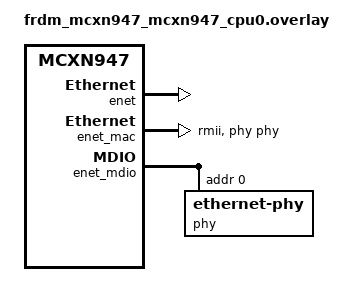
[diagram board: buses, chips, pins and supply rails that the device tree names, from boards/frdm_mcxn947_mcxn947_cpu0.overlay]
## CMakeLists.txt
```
# Cloud-to-device LED control sample: C2D commands drive the board LED
# (alias led0) and the LED state reports back as telemetry. Reuses the
# telemetry sample's generated device_credentials.h, so one provisioning
# step covers both samples.
cmake_minimum_required(VERSION 3.20.0)

find_package(Zephyr REQUIRED HINTS $ENV{ZEPHYR_BASE})
project(iotc_c2d_led_sample)

target_sources(app PRIVATE src/main.c)
target_include_directories(app PRIVATE ${CMAKE_CURRENT_SOURCE_DIR}/../telemetry/src) # device_credentials.h
```

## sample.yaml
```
sample:
  name: IOTCONNECT C2D LED
  description: >
    Drives the board LED (alias led0) from IOTCONNECT cloud-to-device
    commands (led-on / led-off / led-toggle), ACKs every command, and
    reports the LED state back as periodic telemetry.
common:
  tags: iotconnect mqtt tls net sample
  harness: net
tests:
  sample.iotconnect.c2d_led:
    platform_allow:
      - frdm_mcxn947/mcxn947/cpu0
    build_only: true
    integration_platforms:
      - frdm_mcxn947/mcxn947/cpu0
```

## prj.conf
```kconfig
# IOTCONNECT telemetry sample - vendor-neutral baseline.
# Board-specific networking/bearer settings live in boards/<board>.conf.

# --- Turn on the SDK (selects the net/TLS/MQTT/SNTP/HTTP stack) -------------
CONFIG_IOTCONNECT=y
CONFIG_IOTCONNECT_DRA=y

# Device identity (override per device; can also be set at runtime).
CONFIG_IOTCONNECT_CPID=""
CONFIG_IOTCONNECT_ENV=""
CONFIG_IOTCONNECT_DUID=""
CONFIG_IOTCONNECT_CT_AWS=y
# Region-specific AWS discovery endpoint (from the device config package).
CONFIG_IOTCONNECT_DRA_DISCOVERY_HOST="awsdiscovery.iotconnect.io"

# --- Networking (native Zephyr IP stack) -----------------------------------
CONFIG_NETWORKING=y
CONFIG_NET_NATIVE=y
CONFIG_NET_IPV4=y
CONFIG_NET_IPV6=n
CONFIG_NET_TCP=y
CONFIG_NET_UDP=y
CONFIG_NET_SOCKETS=y
CONFIG_NET_SOCKETS_SOCKOPT_TLS=y
CONFIG_NET_SOCKETS_TLS_MAX_CONTEXTS=4
CONFIG_DNS_RESOLVER=y
CONFIG_NET_CONNECTION_MANAGER=y
CONFIG_NET_MGMT=y
CONFIG_NET_MGMT_EVENT=y
CONFIG_POSIX_API=y

# --- TLS / mbedTLS (Zephyr 4.x symbol set) ---------------------------------
CONFIG_TLS_CREDENTIALS=y
CONFIG_MBEDTLS=y
CONFIG_MBEDTLS_ENABLE_HEAP=y
CONFIG_MBEDTLS_HEAP_SIZE=60000
CONFIG_MBEDTLS_SSL_MAX_CONTENT_LEN=16384
CONFIG_MBEDTLS_PEM_PARSE_C=y
CONFIG_MBEDTLS_SSL_SERVER_NAME_INDICATION=y
# Ciphersuites: ECDHE-RSA covers AWS/Azure RSA broker roots; ECDHE-ECDSA covers
# ECC device/broker certs (common with IOTCONNECT). Both AES-128-GCM-SHA256.
CONFIG_MBEDTLS_CIPHERSUITE_TLS_ECDHE_RSA_WITH_AES_128_GCM_SHA256=y
CONFIG_MBEDTLS_CIPHERSUITE_TLS_ECDHE_ECDSA_WITH_AES_128_GCM_SHA256=y
CONFIG_ENTROPY_GENERATOR=y

# --- MQTT / HTTP / SNTP -----------------------------------------------------
CONFIG_MQTT_LIB=y
CONFIG_MQTT_LIB_TLS=y
CONFIG_MQTT_KEEPALIVE=30
CONFIG_HTTP_CLIENT=y
CONFIG_SNTP=y

# --- Time (apply SNTP to realtime clock for cert validity) -----------------
CONFIG_POSIX_TIMERS=y

# --- Settings / NVS (identity + DRA cache persistence) ---------------------
CONFIG_SETTINGS=y
CONFIG_SETTINGS_NVS=y
CONFIG_NVS=y
CONFIG_FLASH=y
CONFIG_FLASH_MAP=y

# --- libc / heap / stacks ---------------------------------------------------
# Board default libc = picolibc. cJSON serializes telemetry doubles via libc
# sprintf("%g"); picolibc needs float printf explicitly enabled or doubles
# render as the literal "*float*".
CONFIG_PICOLIBC_IO_FLOAT=y
CONFIG_MAIN_STACK_SIZE=8192
CONFIG_HEAP_MEM_POOL_SIZE=32768
CONFIG_IOTCONNECT_THREAD_STACK_SIZE=4096

# --- Logging ----------------------------------------------------------------
CONFIG_LOG=y
CONFIG_IOTCONNECT_LOG_LEVEL_INF=y

# c2d-led: LED GPIO
CONFIG_GPIO=y

# Device vitals: append a "sys" object (CPU/heap/temp/uptime/reset) to telemetry.
CONFIG_IOTCONNECT_DEVICE_VITALS=y
```

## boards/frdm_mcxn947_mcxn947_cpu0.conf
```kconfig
# FRDM-MCXN947 board overlay for the telemetry sample -- ETHERNET bearer.
#
# The MCXN947 ENET-QoS MAC is wired (RMII) to an onboard Microchip LAN8741 PHY
# + RJ45. The DT overlay (boards/frdm_mcxn947_mcxn947_cpu0.overlay) enables
# enet_mac / enet_mdio / phy; this .conf turns on the L2 + DHCPv4 so the
# interface self-configures and the SDK's connection manager sees L4 up.
#
# NOTE: if ENET init fails at boot with "Can't clear SWR", the RMII REF_CLK is
# not reaching the SoC. On FRDM-MCXN947 the usual cause is board rework: NXP's
# camera/LCD demo setups move solder jumpers that disconnect the ENET pins.
# The PHY still responds over MDIO and reports link, so it looks driver-side.

# --- Bearer: native Ethernet (ENET-QoS + LAN8741 RMII) ---------------------
CONFIG_NET_L2_ETHERNET=y
CONFIG_ETH_NXP_ENET_QOS=y
CONFIG_ETH_NXP_ENET_QOS_MAC=y
CONFIG_MDIO=y

# --- IPv4 via DHCP; auto-bring-up the interface ----------------------------
CONFIG_NET_DHCPV4=y
CONFIG_NET_CONFIG_AUTO_INIT=y
CONFIG_NET_CONFIG_NEED_IPV4=y
CONFIG_NET_CONFIG_SETTINGS=y

# --- Net buffers sized for a wired link ------------------------------------
CONFIG_NET_PKT_RX_COUNT=16
CONFIG_NET_PKT_TX_COUNT=16
CONFIG_NET_BUF_RX_COUNT=32
CONFIG_NET_BUF_TX_COUNT=32
CONFIG_NET_CONTEXT_RCVTIMEO=y

# --- mbedTLS heap headroom for cloud broker cert chains --------------------
CONFIG_MBEDTLS_HEAP_SIZE=60000
```

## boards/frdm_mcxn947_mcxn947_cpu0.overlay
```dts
/*
 * FRDM-MCXN947 Ethernet enablement for the IOTCONNECT telemetry sample.
 *
 * The MCXN947 SoC has an ENET-QoS MAC; the FRDM board wires it (RMII) to an
 * onboard Microchip LAN8741 PHY + RJ45. Zephyr leaves enet_mac/enet_mdio
 * disabled by default, so this overlay turns them on, applies the ENET pinmux,
 * and declares the PHY at MDIO address 0. Modeled on the NXP MCX-Nx4x EVK
 * (same SoC family), which uses the generic "ethernet-phy" driver over RMII.
 *
 * NOTE (hardware-verified, Zephyr v4.4.1): after a WARM reset -- a debugger
 * reset (e.g. right after `west flash`) or the reset pin -- the ENET-QoS MAC
 * fails init with "Can't clear SWR" and Ethernet stays down; the blocking
 * state clears only on a power-on reset. Power-cycle the board (unplug and
 * replug USB) after flashing. Cold boots work. Pulsing the SYSCON ENET module
 * reset and skipping the PHY soft-reset (`no-reset`) were both tested on
 * hardware and do not help; the fix belongs in upstream platform init (see
 * the TODO in Zephyr's eth_nxp_enet_qos.c).
 */

&enet {
	pinctrl-0 = <&pinmux_enet_qos>;
	pinctrl-names = "default";
	status = "okay";
};

&enet_mac {
	status = "okay";
	phy-connection-type = "rmii";
	zephyr,random-mac-address;
	phy-handle = <&phy>;
};

&enet_mdio {
	status = "okay";

	phy: ethernet-phy@0 {
		compatible = "ethernet-phy";
		reg = <0>;
		status = "okay";
	};
};
```

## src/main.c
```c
/*
 * Copyright (c) 2026 Avnet, Inc.
 * SPDX-License-Identifier: MIT
 *
 * c2d-led demo -- cloud-to-device LED control over Avnet /IOTCONNECT.
 *
 * Connects with the iotc-zephyr-sdk, then drives the board LED (alias led0)
 * from C2D commands and reports the LED state back as telemetry:
 *   - command containing "toggle"  -> invert the LED
 *   - command containing "off"     -> LED off
 *   - command containing "on"      -> LED on   (checked after "off")
 * Every command is ACKed. A periodic heartbeat publishes {"led": 0|1}.
 *
 * Send a command from the IOTCONNECT device console, e.g. command name
 * "led-on" / "led-off" / "led-toggle".
 */

#include <stdbool.h>
#include <stddef.h>
#include <ctype.h>
#include <string.h>

#include <zephyr/kernel.h>
#include <zephyr/logging/log.h>
#include <zephyr/drivers/gpio.h>
#include <zephyr/net/net_if.h>
#include <zephyr/net/net_mgmt.h>
#include <zephyr/net/net_event.h>
#include <zephyr/net/conn_mgr_monitor.h>

#include "iotconnect.h"
#include "iotcl.h"
#include "iotcl_c2d.h"
#include "iotc_time.h"
/* device_credentials.h (git-ignored, from the telemetry sample's src/) is
 * OPTIONAL: without it only the public CA roots are compiled in and the
 * device identity must come from NVS (CONFIG_IOTCONNECT_IDENTITY_NVS +
 * the iotcprov/iotc shell commands, as in the quickstart sample). */
#if defined(__has_include) && __has_include("device_credentials.h")
#include "device_credentials.h"
#define HAVE_DEVICE_CREDENTIALS 1
#else
#include "iotconnect_ca_roots.h" /* public broker/DRA roots only */
static const char device_cert_pem[] = "";
static const char device_key_pem[] = "";
#endif
#if defined(CONFIG_IOTCONNECT_IDENTITY_NVS)
#include "iotconnect_identity.h"
#endif

LOG_MODULE_REGISTER(c2d_led, LOG_LEVEL_INF);

#define HEARTBEAT_SEC 10

static const struct gpio_dt_spec led = GPIO_DT_SPEC_GET(DT_ALIAS(led0), gpios);
static int led_state;

static K_SEM_DEFINE(l4_connected_sem, 0, 1);
static struct net_mgmt_event_callback l4_cb;
#define L4_EVENT_MASK (NET_EVENT_L4_CONNECTED | NET_EVENT_L4_DISCONNECTED)

static void set_led(int on)
{
	led_state = on ? 1 : 0;
	gpio_pin_set_dt(&led, led_state);
	LOG_INF("LED -> %s", led_state ? "ON" : "OFF");
}

static void l4_event_handler(struct net_mgmt_event_callback *cb,
			     uint64_t mgmt_event, struct net_if *iface)
{
	ARG_UNUSED(cb);
	ARG_UNUSED(iface);

	if (mgmt_event == NET_EVENT_L4_CONNECTED) {
		LOG_INF("Network connectivity established (L4 up)");
		k_sem_give(&l4_connected_sem);
	} else if (mgmt_event == NET_EVENT_L4_DISCONNECTED) {
		LOG_WRN("Network connectivity lost (L4 down)");
	}
}

/* Case-insensitive substring search (picolibc may lack strcasestr). */
static bool ci_contains(const char *haystack, const char *needle)
{
	for (const char *h = haystack; *h != '\0'; h++) {
		size_t i = 0;

		while (h[i] != '\0' && needle[i] != '\0' &&
		       tolower((unsigned char)h[i]) ==
			       tolower((unsigned char)needle[i])) {
			i++;
		}
		if (needle[i] == '\0') {
			return true;
		}
	}
	return false;
}

/* --- IOTCONNECT callbacks ------------------------------------------------- */

static void on_command(IotclC2dEventData data)
{
	const char *cmd = iotcl_c2d_get_command(data);
	const char *ack = iotcl_c2d_get_ack_id(data);
	int status = IOTCL_C2D_EVT_CMD_FAILED;

	LOG_INF("C2D command: %s", cmd ? cmd : "(null)");

	if (cmd != NULL) {
		if (ci_contains(cmd, "toggle")) {
			set_led(!led_state);
			status = IOTCL_C2D_EVT_CMD_SUCCESS_WITH_ACK;
		} else if (ci_contains(cmd, "off")) {
			set_led(0);
			status = IOTCL_C2D_EVT_CMD_SUCCESS_WITH_ACK;
		} else if (ci_contains(cmd, "on")) {
			set_led(1);
			status = IOTCL_C2D_EVT_CMD_SUCCESS_WITH_ACK;
		} else {
			LOG_WRN("Unrecognized LED command");
		}
	}

	if (ack != NULL) {
		(void)iotcl_mqtt_send_cmd_ack(ack, status,
			status == IOTCL_C2D_EVT_CMD_FAILED ? "unknown command" : NULL);
	}

	/* Reflect the new state immediately. */
	(void)iotconnect_sdk_send_telemetry_number("led", (double)led_state);
}

static void on_connection_status(IotConnectMqttStatus status)
{
	LOG_INF("MQTT status: %d", (int)status);
}

/* --- Network bring-up ----------------------------------------------------- */

static int network_up(void)
{
	struct net_if *iface = net_if_get_default();

	if (iface == NULL) {
		LOG_ERR("No default network interface");
		return -ENODEV;
	}

	net_mgmt_init_event_callback(&l4_cb, l4_event_handler, L4_EVENT_MASK);
	net_mgmt_add_event_callback(&l4_cb);

	if (!net_if_is_up(iface)) {
		int ret = net_if_up(iface);

		if (ret && ret != -EALREADY) {
			LOG_ERR("net_if_up failed (%d)", ret);
			return ret;
		}
	}

	conn_mgr_mon_resend_status();
	LOG_INF("Waiting for network connectivity...");
	k_sem_take(&l4_connected_sem, K_FOREVER);
	return 0;
}

int main(void)
{
	int ret;

	LOG_INF("c2d-led demo starting");

	if (!gpio_is_ready_dt(&led)) {
		LOG_ERR("LED gpio not ready");
		return 0;
	}
	gpio_pin_configure_dt(&led, GPIO_OUTPUT_INACTIVE);

	ret = network_up();
	if (ret) {
		return 0;
	}

	/* On Wi-Fi bearers L4 can report up before association and DHCP have
	 * settled; give SNTP a few tries before declaring failure. */
	for (int attempt = 1;; attempt++) {
		ret = iotc_time_sync(CONFIG_IOTCONNECT_SNTP_SERVER,
				     CONFIG_IOTCONNECT_SNTP_TIMEOUT_MS);
		if (ret == 0) {
			break;
		}
		if (attempt == 10) {
			LOG_ERR("SNTP sync failed (%d); TLS will likely fail", ret);
			return 0;
		}
		k_sleep(K_SECONDS(3));
	}

	IotConnectClientConfig config;

	iotconnect_sdk_init_config(&config);
#if defined(CONFIG_IOTCONNECT_CT_AWS)
	config.connection_type = IOTC_CT_AWS;
#elif defined(CONFIG_IOTCONNECT_CT_AZURE)
	config.connection_type = IOTC_CT_AZURE;
#endif
	config.cpid = NULL;  /* fall back to Kconfig defaults */
	config.env = NULL;
	config.duid = NULL;

	config.auth_info.type = IOTC_AT_X509;
	config.auth_info.ca_cert = broker_ca_pem;
	config.auth_info.ca_cert_len = sizeof(broker_ca_pem);
	config.auth_info.dra_ca = dra_ca_pem;
	config.auth_info.dra_ca_len = sizeof(dra_ca_pem);

#if defined(CONFIG_IOTCONNECT_IDENTITY_NVS)
	/* Prefer identity provisioned into NVS (`iotcprov` / `iotc` shell);
	 * fall back to compiled-in device_credentials.h when present. */
	struct iotc_identity id;

	if (iotc_identity_load(&id) == 0) {
		LOG_INF("Using NVS-provisioned identity (duid=%s)", id.duid);
		config.cpid = (char *)id.cpid;
		config.env = (char *)id.env;
		config.duid = (char *)id.duid;
		config.auth_info.data.cert_info.device_cert = id.device_cert;
		config.auth_info.data.cert_info.device_cert_len = id.device_cert_len;
		config.auth_info.data.cert_info.device_key = id.device_key;
		config.auth_info.data.cert_info.device_key_len = id.device_key_len;
	} else
#endif
	{
		LOG_INF("Using compiled-in device credentials");
		config.auth_info.data.cert_info.device_cert = device_cert_pem;
		config.auth_info.data.cert_info.device_cert_len = sizeof(device_cert_pem);
		config.auth_info.data.cert_info.device_key = device_key_pem;
		config.auth_info.data.cert_info.device_key_len = sizeof(device_key_pem);
	}

	/* Neither NVS identity nor compiled-in credentials: stay at the shell so
	 * the device can be provisioned (iotcprov provision <duid>, iotc config,
	 * reboot) -- same flow as the quickstart sample. */
	if (config.auth_info.data.cert_info.device_cert_len <= 1) {
		LOG_ERR("No device identity: provision at the shell, then reboot:");
		LOG_ERR("  iotcprov provision <duid>   (register printed cert in IOTCONNECT)");
		LOG_ERR("  iotc config                 (paste iotcDeviceConfig.json)");
		return 0;
	}

	config.status_cb = on_connection_status;
	config.cmd_cb = on_command;
	config.verbose = true;

	ret = iotconnect_sdk_init(&config);
	if (ret) {
		LOG_ERR("iotconnect_sdk_init failed (%d)", ret);
		return 0;
	}

	while (true) {
		ret = iotconnect_sdk_connect();
		if (ret) {
			LOG_ERR("connect failed (%d); retrying", ret);
			k_sleep(K_SECONDS(5));
			continue;
		}

		while (iotconnect_sdk_is_connected()) {
			(void)iotconnect_sdk_send_telemetry_number("led",
								   (double)led_state);
			k_sleep(K_SECONDS(HEARTBEAT_SEC));
		}

		iotconnect_sdk_disconnect();
		LOG_WRN("Disconnected; reconnecting...");
	}

	return 0;
}
```
